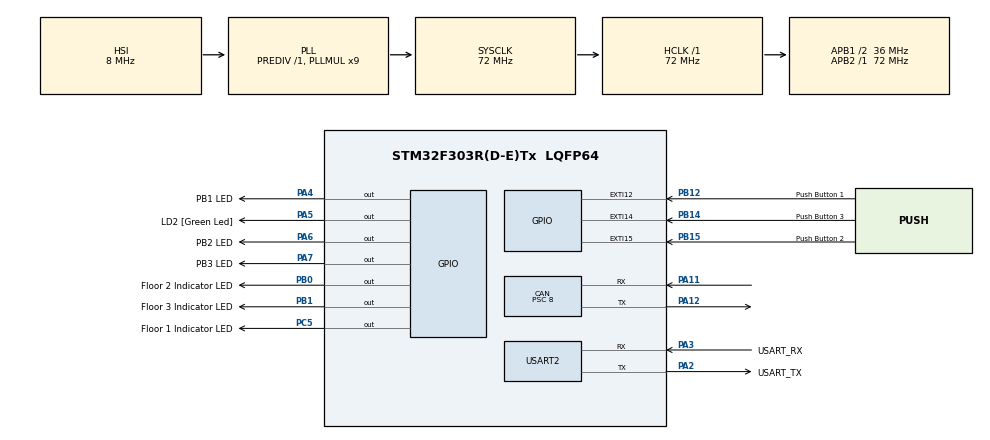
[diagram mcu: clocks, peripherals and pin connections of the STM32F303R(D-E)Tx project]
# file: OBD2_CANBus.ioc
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CAN.BS1=CAN_BS1_4TQ
CAN.BS2=CAN_BS2_4TQ
CAN.CalculateBaudRate=500000
CAN.CalculateTimeBit=2000
CAN.CalculateTimeQuantum=222.22222222222223
CAN.Prescaler=8
CAN.SJW=CAN_SJW_1TQ
Mcu.Family=STM32F3
Mcu.Name=STM32F303R(D-E)Tx
Mcu.Package=LQFP64
NVIC.EXTI15_10_IRQn=true\:0\:0\:false\:false\:true\:true\:true\:true
NVIC.PriorityGroup=NVIC_PRIORITYGROUP_0
NVIC.USB_LP_CAN_RX0_IRQn=true\:0\:0\:false\:false\:true\:true\:true\:true
PA11.Mode=CAN_Activate
PA11.Signal=CAN_RX
PA12.Mode=CAN_Activate
PA12.Signal=CAN_TX
PA13.GPIO_Label=TMS
PA13.Mode=Trace_Asynchronous_SW
PA13.Signal=SYS_JTMS-SWDIO
PA14.GPIO_Label=TCK
PA14.Mode=Trace_Asynchronous_SW
PA14.Signal=SYS_JTCK-SWCLK
PA2.GPIO_Label=USART_TX
PA2.GPIO_Mode=GPIO_MODE_AF_PP
PA2.GPIO_PuPd=GPIO_NOPULL
PA2.GPIO_Speed=GPIO_SPEED_FREQ_LOW
PA2.Mode=Asynchronous
PA2.Signal=USART2_TX
PA3.GPIO_Label=USART_RX
PA3.GPIO_Mode=GPIO_MODE_AF_PP
PA3.GPIO_PuPd=GPIO_NOPULL
PA3.GPIO_Speed=GPIO_SPEED_FREQ_LOW
PA3.Mode=Asynchronous
PA3.Signal=USART2_RX
PA4.GPIO_Label=PB1 LED
PA4.Signal=GPIO_Output
PA5.GPIO_Label=LD2 [Green Led]
PA5.GPIO_Mode=GPIO_MODE_OUTPUT_PP
PA5.GPIO_PuPd=GPIO_NOPULL
PA5.GPIO_Speed=GPIO_SPEED_FREQ_LOW
PA5.Signal=GPIO_Output
PA6.GPIO_Label=PB2 LED
PA6.Signal=GPIO_Output
PA7.GPIO_Label=PB3 LED
PA7.Signal=GPIO_Output
PB0.GPIO_Label=Floor 2 Indicator LED
PB0.Signal=GPIO_Output
PB1.GPIO_Label=Floor 3 Indicator LED
PB1.Signal=GPIO_Output
PB12.GPIO_Label=Push Button 1
PB12.GPIO_ModeDefaultEXTI=GPIO_MODE_IT_FALLING
PB12.Signal=GPXTI12
PB14.GPIO_Label=Push Button 3
PB14.GPIO_ModeDefaultEXTI=GPIO_MODE_IT_FALLING
PB14.Signal=GPXTI14
PB15.GPIO_Label=Push Button 2
PB15.GPIO_ModeDefaultEXTI=GPIO_MODE_IT_FALLING
PB15.Signal=GPXTI15
PB3.GPIO_Label=SWO
PB3.Mode=Trace_Asynchronous_SW
PB3.Signal=SYS_JTDO-TRACESWO
PC14-OSC32_IN.Mode=LSE-External-Oscillator
PC14-OSC32_IN.Signal=RCC_OSC32_IN
PC15-OSC32_OUT.Mode=LSE-External-Oscillator
PC15-OSC32_OUT.Signal=RCC_OSC32_OUT
PC5.GPIO_Label=Floor 1 Indicator LED
PC5.Signal=GPIO_Output
PF0-OSC_IN.Mode=HSE-External-Clock-Source
PF0-OSC_IN.Signal=RCC_OSC_IN
PF1-OSC_OUT.Signal=RCC_OSC_OUT
ProjectManager.HeapSize=0x200
ProjectManager.StackSize=0x400
ProjectManager.TargetToolchain=STM32CubeIDE
RCC.AHBFreq_Value=72000000
RCC.APB1CLKDivider=RCC_HCLK_DIV2
RCC.APB1Freq_Value=36000000
RCC.APB1TimFreq_Value=72000000
RCC.APB2Freq_Value=72000000
RCC.APB2TimFreq_Value=72000000
RCC.CortexFreq_Value=72000000
RCC.HCLKFreq_Value=72000000
RCC.HSE_VALUE=8000000
RCC.HSI_VALUE=8000000
RCC.PLLM=8
RCC.PLLMUL=RCC_PLL_MUL9
RCC.PLLN=336
RCC.PLLP=RCC_PLLP_DIV4
RCC.PLLQ=7
RCC.RCC_PLLsource_Clock_Source_FROM_HSE=RCC_HSE_PREDIV_DIV2
RCC.SYSCLKFreq_VALUE=72000000
RCC.SYSCLKSourceVirtual=RCC_SYSCLKSOURCE_PLLCLK
RCC.USBFreq_Value=72000000
USART2.VirtualMode-Asynchronous=VM_ASYNC
board=NUCLEO-F303RE

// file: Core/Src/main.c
/* USER CODE BEGIN Header */
/**
  ******************************************************************************
  * @file           : main.c
  * @brief          : Main program body
  ******************************************************************************
  * @attention
  *
  * Copyright (c) 2025 STMicroelectronics.
  * All rights reserved.
  *
  * This software is licensed under terms that can be found in the LICENSE file
  * in the root directory of this software component.
  * If no LICENSE file comes with this software, it is provided AS-IS.
  *
  ******************************************************************************
  */
/* USER CODE END Header */
#include "main.h"

/* USER CODE BEGIN Includes */
#include "stdio.h"
#include "OBD2msg.h"
/* USER CODE END Includes */

/* USER CODE BEGIN PD */
#define ID						0x102
#define GO_TO_FLOOR_1 			0x05
#define GO_TO_FLOOR_2			0x06
#define GO_TO_FLOOR_3			0x07
#define NO_BUTTON_PRESSED		0
#define BLUE_BUTTON_PRESSED		5
#define BUTTON_1				1
#define BUTTON_2				2
#define BUTTON_3				3
/* USER CODE END PD */

CAN_HandleTypeDef hcan;

UART_HandleTypeDef huart2;

/* USER CODE BEGIN PV */
CAN_TxHeaderTypeDef		TxHeader;
CAN_RxHeaderTypeDef		RxHeader;
uint8_t					TxData[8];
uint8_t					RxData[8];
uint32_t				TxMailbox;

uint8_t msg = GO_TO_FLOOR_1;
uint8_t BUTTON = NO_BUTTON_PRESSED;
uint8_t i;

uint8_t msgBuffer[] = { 0x00, 0x00, 0x00, 0x00, 0x00, 0x00, 0x00, 0x00 };
uint8_t testmsg[] = { 0x03, 0x41, 0x0D, 0x32, 0xAA, 0xAA, 0xAA, 0xAA };
uint8_t testSend[] = { 0xAB, 0xCD, 0xEF, 0x12 };
uint8_t testRecieve[] = { 0x00, 0x00, 0x00, 0x00 };

uint8_t button1msg[] = { 0x11, 0x11, 0x11, 0x11 };
uint8_t button2msg[] = { 0x22, 0x22, 0x22, 0x22 };
uint8_t button3msg[] = { 0x33, 0x33, 0x33, 0x33 };

/* USER CODE END PV */

void SystemClock_Config(void);
static void MX_GPIO_Init(void);
static void MX_USART2_UART_Init(void);
static void MX_CAN_Init(void);
/* USER CODE BEGIN PFP */
void ReceiveIndicator(void);
void TransmitIndicator(void);
/* USER CODE END PFP */

/* USER CODE BEGIN 0 */

int _write(int file, char *ptr, int len)
{
  for (i = 0; i < len; i++)
  {
    ITM_SendChar(*ptr++);
  }
  return len;
}

/* USER CODE END 0 */

int main(void)
{

  /* MCU Configuration--------------------------------------------------------*/

  /* Reset of all peripherals, Initializes the Flash interface and the Systick. */
   HAL_Init();

  /* Configure the system clock */
  SystemClock_Config();

  /* Initialize all configured peripherals */
  MX_GPIO_Init();
  MX_USART2_UART_Init();
  MX_CAN_Init();

  /* Infinite loop */
  while (1)
  {

    /* USER CODE BEGIN 3 */

	  // TESTING AREA
//	  HAL_Delay(500);
//	  writeOBD2(msgBuffer, 0x01, 0x3E, 0x00, testSend);
//	  loadOBD2(TxData, msgBuffer);
//	  readOBD2(TxData);
//	  if (HAL_CAN_AddTxMessage(&hcan, &TxHeader, TxData, &TxMailbox) != HAL_OK) {			// Transmit the message
//	 				  Error_Handler();														// Transmission error
//	 				  }

	  // Receive
	  if (RxData[1] != 0x00) {
		  ReceiveIndicator();
		  readOBD2(RxData);
		  HAL_Delay(2000);					    											    // Keep LED on for 2 seconds
		  for (i=0; i<8; i++) {
			  RxData[i] = 0x00;																	// Reset the RxData[] buffer (used as flag)
			  }
		  HAL_Delay(100);																		// Need a delay after toggle
		  }

	  // Transmit
	  if (BUTTON != 0) {

		  switch (BUTTON)
		  {
		  case (BUTTON_1):
				  HAL_GPIO_TogglePin(GPIOA, GPIO_PIN_4);  										// Turn OFF LED 1
				  printf("Button1 - Writing CAN Message!\n");
				  writeOBD2(msgBuffer, 0x01, 0x3E, 0x00, testSend);							// Construct OBD2 Format Message in buffer
				  loadOBD2(TxData, msgBuffer);													// Copy the buffer into the transmit register
				  readOBD2(TxData);																// Print the contents of the transmit register
				  HAL_Delay(2000);																// Leave it on for 2 seconds
				  if (HAL_CAN_AddTxMessage(&hcan, &TxHeader, TxData, &TxMailbox) != HAL_OK) {	// Transmit the message
					  Error_Handler();															// Transmission error
					  }
				  HAL_GPIO_TogglePin(GPIOA, GPIO_PIN_4);  										// Turn OFF LED 1
				  BUTTON = NO_BUTTON_PRESSED; 													// Reset the BUTTON flag
				  break;
		  case (BUTTON_2):
				  HAL_GPIO_TogglePin(GPIOA, GPIO_PIN_6);  										// Turn ON LED 1
				  printf("Button2 - Writing CAN Message!\n");
				  writeOBD2(msgBuffer, 0x01, 0x3E, 0x00, button2msg);							// Construct OBD2 Format Message in buffer
				  loadOBD2(TxData, msgBuffer);													// Copy the buffer into the transmit register
				  readOBD2(TxData);																// Print the contents of the transmit register
				  HAL_Delay(2000);																// Leave it on for 2 seconds
				  if (HAL_CAN_AddTxMessage(&hcan, &TxHeader, TxData, &TxMailbox) != HAL_OK) {	// Transmit the message
					  Error_Handler();															// Transmission error
					  }
				  HAL_GPIO_TogglePin(GPIOA, GPIO_PIN_6);  										// Turn OFF LED 2
				  BUTTON = NO_BUTTON_PRESSED; 													// Reset the BUTTON flag
				  break;
		  case (BUTTON_3):
				  HAL_GPIO_TogglePin(GPIOA, GPIO_PIN_7);  										// Turn ON LED 3
				  printf("Button3 - Writing CAN Message!\n");
				  writeOBD2(msgBuffer, 0x01, 0x3E, 0x00, button3msg);							// Construct OBD2 Format Message in buffer
				  loadOBD2(TxData, msgBuffer);													// Copy the buffer into the transmit register
				  readOBD2(TxData);																// Print the contents of the transmit register
				  HAL_Delay(2000);																// Leave it on for 2 seconds
				  if (HAL_CAN_AddTxMessage(&hcan, &TxHeader, TxData, &TxMailbox) != HAL_OK) {	// Transmit the message
					  Error_Handler();															// Transmission error
					  }
				  HAL_GPIO_TogglePin(GPIOA, GPIO_PIN_7);  										// Turn OFF LED 3
				  BUTTON = NO_BUTTON_PRESSED; 													// Reset the BUTTON flag
				  break;
		  default:
			  break;
		  }

		  if (BUTTON == BLUE_BUTTON_PRESSED) {												// Blue button pressed --> Turn on LED2 for 2 seconds and Transmit message
			  HAL_GPIO_TogglePin(GPIOA, GPIO_PIN_5);  										// Turn on LED2

			  printf("Writing CAN Message!\n");
			  writeOBD2(msgBuffer, 0x01, 0x3E, 0x00, testSend);
			  loadOBD2(TxData, msgBuffer);
			  readOBD2(TxData);

			  HAL_Delay(2000);																// Leave it on for 2 seconds

			  if (HAL_CAN_AddTxMessage(&hcan, &TxHeader, TxData, &TxMailbox) != HAL_OK) {	// Transmit the message
				  Error_Handler();															// Transmission error
				  }

			  HAL_GPIO_TogglePin(GPIOA, GPIO_PIN_5);  										// Turn off LED2
			  BUTTON = NO_BUTTON_PRESSED; 													// Reset the BUTTON flag
			  }

		  TransmitIndicator();
	  }

  }
  /* USER CODE END 3 */
}

void SystemClock_Config(void)
{
  RCC_OscInitTypeDef RCC_OscInitStruct = {0};
  RCC_ClkInitTypeDef RCC_ClkInitStruct = {0};
  RCC_PeriphCLKInitTypeDef PeriphClkInit = {0};

  /** Initializes the RCC Oscillators according to the specified parameters
  * in the RCC_OscInitTypeDef structure.
  */
  RCC_OscInitStruct.OscillatorType = RCC_OSCILLATORTYPE_HSI;
  RCC_OscInitStruct.HSIState = RCC_HSI_ON;
  RCC_OscInitStruct.HSICalibrationValue = RCC_HSICALIBRATION_DEFAULT;
  RCC_OscInitStruct.PLL.PLLState = RCC_PLL_ON;
  RCC_OscInitStruct.PLL.PLLSource = RCC_PLLSOURCE_HSI;
  RCC_OscInitStruct.PLL.PLLMUL = RCC_PLL_MUL9;
  RCC_OscInitStruct.PLL.PREDIV = RCC_PREDIV_DIV1;
  if (HAL_RCC_OscConfig(&RCC_OscInitStruct) != HAL_OK)
  {
    Error_Handler();
  }

  /** Initializes the CPU, AHB and APB buses clocks
  */
  RCC_ClkInitStruct.ClockType = RCC_CLOCKTYPE_HCLK|RCC_CLOCKTYPE_SYSCLK
                              |RCC_CLOCKTYPE_PCLK1|RCC_CLOCKTYPE_PCLK2;
  RCC_ClkInitStruct.SYSCLKSource = RCC_SYSCLKSOURCE_PLLCLK;
  RCC_ClkInitStruct.AHBCLKDivider = RCC_SYSCLK_DIV1;
  RCC_ClkInitStruct.APB1CLKDivider = RCC_HCLK_DIV2;
  RCC_ClkInitStruct.APB2CLKDivider = RCC_HCLK_DIV1;

  if (HAL_RCC_ClockConfig(&RCC_ClkInitStruct, FLASH_LATENCY_2) != HAL_OK)
  {
    Error_Handler();
  }
  PeriphClkInit.PeriphClockSelection = RCC_PERIPHCLK_USART2;
  PeriphClkInit.Usart2ClockSelection = RCC_USART2CLKSOURCE_PCLK1;
  if (HAL_RCCEx_PeriphCLKConfig(&PeriphClkInit) != HAL_OK)
  {
    Error_Handler();
  }
}

static void MX_CAN_Init(void)
{

  hcan.Instance = CAN;
  hcan.Init.Prescaler = 8;
  hcan.Init.Mode = CAN_MODE_NORMAL;
  hcan.Init.SyncJumpWidth = CAN_SJW_1TQ;
  hcan.Init.TimeSeg1 = CAN_BS1_4TQ;
  hcan.Init.TimeSeg2 = CAN_BS2_4TQ;
  hcan.Init.TimeTriggeredMode = DISABLE;
  hcan.Init.AutoBusOff = DISABLE;
  hcan.Init.AutoWakeUp = DISABLE;
  hcan.Init.AutoRetransmission = DISABLE;
  hcan.Init.ReceiveFifoLocked = DISABLE;
  hcan.Init.TransmitFifoPriority = DISABLE;
  if (HAL_CAN_Init(&hcan) != HAL_OK)
  {
    Error_Handler();
  }
  /* USER CODE BEGIN CAN_Init 2 */

  // Set Up CAN_Rx Filter

  CAN_FilterTypeDef filter;		// This is one of the 13 filters - can create more filters - this one will be number 0

  // Configure filter 0  to direct everything to FIFO 0
  filter.FilterBank = 0;                            // this is filter number 0
  filter.FilterIdHigh = 0x0100 << 5;                // Set FilterIdHigh bits by choosing an ID and aligning the bits in the filter register with the receive register by shifting << 5
  filter.FilterIdLow = 0x0000;                        // Not using FilterIdLow bits (set as don't care)
  filter.FilterMaskIdHigh = 0xFFC <<5;                // Same as example in lecture (this gives a range of ID's that will be accepted of between 0x100 and 0x103). Must also align the bits;
  filter.FilterMaskIdLow = 0x0000;                    // Not using FilterMaskLow bits (set as don't care)
  filter.FilterFIFOAssignment = CAN_FILTER_FIFO0;    //
  filter.FilterMode = CAN_FILTERMODE_IDMASK;        // uses mask mode (so can set range of IDs)
  filter.FilterScale = CAN_FILTERSCALE_32BIT;        // use 32 bit filters
  filter.FilterActivation = ENABLE;                    // By default the filters are disable so enable them
  filter.SlaveStartFilterBank = 0;

  if (HAL_CAN_ConfigFilter(&hcan, &filter) != HAL_OK)	// Set the above value for filter 0
  {
	  Error_Handler();
  }

  // Start the CAN Peripheral
  if (HAL_CAN_Start(&hcan) != HAL_OK)
  {
	  Error_Handler();
  }

  // Activate CAN_Rx notification interrupt
  if (HAL_CAN_ActivateNotification(&hcan, CAN_IT_RX_FIFO0_MSG_PENDING) != HAL_OK)
  {
	  Error_Handler();
  }

  // Prepare header field for Standard Mode CAN Transmission
  TxHeader.IDE = CAN_ID_STD;				// Using standard mode. Note this = CAN_ID_EXT for extended mode
  TxHeader.ExtId = 0x00;					// Extended ID is not used
  TxHeader.StdId = ID;						// Standard mode ID is 0x100 -- CHANGE THIS LATER --
  TxHeader.RTR = CAN_RTR_DATA;				// Send Data frame not an RTR
  TxHeader.DLC = 8;							// Data Length Code = 8
  TxHeader.TransmitGlobalTime = DISABLE;

  /* USER CODE END CAN_Init 2 */

}

static void MX_USART2_UART_Init(void)
{

  huart2.Instance = USART2;
  huart2.Init.BaudRate = 38400;
  huart2.Init.WordLength = UART_WORDLENGTH_8B;
  huart2.Init.StopBits = UART_STOPBITS_1;
  huart2.Init.Parity = UART_PARITY_NONE;
  huart2.Init.Mode = UART_MODE_TX_RX;
  huart2.Init.HwFlowCtl = UART_HWCONTROL_NONE;
  huart2.Init.OverSampling = UART_OVERSAMPLING_16;
  huart2.Init.OneBitSampling = UART_ONE_BIT_SAMPLE_DISABLE;
  huart2.AdvancedInit.AdvFeatureInit = UART_ADVFEATURE_NO_INIT;
  if (HAL_UART_Init(&huart2) != HAL_OK)
  {
    Error_Handler();
  }

}

static void MX_GPIO_Init(void)
{
  GPIO_InitTypeDef GPIO_InitStruct = {0};

  /* GPIO Ports Clock Enable */
  __HAL_RCC_GPIOC_CLK_ENABLE();
  __HAL_RCC_GPIOF_CLK_ENABLE();
  __HAL_RCC_GPIOA_CLK_ENABLE();
  __HAL_RCC_GPIOB_CLK_ENABLE();

  /*Configure GPIO pin Output Level */
  HAL_GPIO_WritePin(GPIOA, PB1_LED_Pin|LD2_Pin|PB2_LED_Pin|PB3_LED_Pin, GPIO_PIN_RESET);

  /*Configure GPIO pin Output Level */
  HAL_GPIO_WritePin(Floor_1_Indicator_LED_GPIO_Port, Floor_1_Indicator_LED_Pin, GPIO_PIN_RESET);

  /*Configure GPIO pin Output Level */
  HAL_GPIO_WritePin(GPIOB, Floor_2_Indicator_LED_Pin|Floor_3_Indicator_LED_Pin, GPIO_PIN_RESET);

  /*Configure GPIO pins : PB1_LED_Pin LD2_Pin PB2_LED_Pin PB3_LED_Pin */
  GPIO_InitStruct.Pin = PB1_LED_Pin|LD2_Pin|PB2_LED_Pin|PB3_LED_Pin;
  GPIO_InitStruct.Mode = GPIO_MODE_OUTPUT_PP;
  GPIO_InitStruct.Pull = GPIO_NOPULL;
  GPIO_InitStruct.Speed = GPIO_SPEED_FREQ_LOW;
  HAL_GPIO_Init(GPIOA, &GPIO_InitStruct);

  /*Configure GPIO pin : Floor_1_Indicator_LED_Pin */
  GPIO_InitStruct.Pin = Floor_1_Indicator_LED_Pin;
  GPIO_InitStruct.Mode = GPIO_MODE_OUTPUT_PP;
  GPIO_InitStruct.Pull = GPIO_NOPULL;
  GPIO_InitStruct.Speed = GPIO_SPEED_FREQ_LOW;
  HAL_GPIO_Init(Floor_1_Indicator_LED_GPIO_Port, &GPIO_InitStruct);

  /*Configure GPIO pins : Floor_2_Indicator_LED_Pin Floor_3_Indicator_LED_Pin */
  GPIO_InitStruct.Pin = Floor_2_Indicator_LED_Pin|Floor_3_Indicator_LED_Pin;
  GPIO_InitStruct.Mode = GPIO_MODE_OUTPUT_PP;
  GPIO_InitStruct.Pull = GPIO_NOPULL;
  GPIO_InitStruct.Speed = GPIO_SPEED_FREQ_LOW;
  HAL_GPIO_Init(GPIOB, &GPIO_InitStruct);

  /*Configure GPIO pins : Push_Button_1_Pin Push_Button_3_Pin Push_Button_2_Pin */
  GPIO_InitStruct.Pin = Push_Button_1_Pin|Push_Button_3_Pin|Push_Button_2_Pin;
  GPIO_InitStruct.Mode = GPIO_MODE_IT_FALLING;
  GPIO_InitStruct.Pull = GPIO_NOPULL;
  HAL_GPIO_Init(GPIOB, &GPIO_InitStruct);

  /* EXTI interrupt init*/
  HAL_NVIC_SetPriority(EXTI15_10_IRQn, 0, 0);
  HAL_NVIC_EnableIRQ(EXTI15_10_IRQn);

}

/* USER CODE BEGIN 4 */

// Override the HAL_CAN_RxFifo0MsgPendingCallback function
// This is called when the interrupt for FIFO0 is triggered.
void HAL_CAN_RxFifo0MsgPendingCallback(CAN_HandleTypeDef *hcan)
{
	// Get Rx Message and store in RxData[] buffer
	if (HAL_CAN_GetRxMessage(hcan, CAN_RX_FIFO0, &RxHeader, RxData) != HAL_OK)
	{
		Error_Handler();
	}

}

// Override the HAL_GPIO Callback
void HAL_GPIO_EXTI_Callback(uint16_t GPIO_Pin)
{
	// Set the BUTTON Flag to indicate which button was pressed
//	if (GPIO_Pin == GPIO_PIN_13)
//	{
//		BUTTON = BLUE_BUTTON_PRESSED;
//	}

	if (GPIO_Pin == GPIO_PIN_12)
	{
		BUTTON = BUTTON_1;
	}

	if (GPIO_Pin == GPIO_PIN_15)
	{
		BUTTON = BUTTON_2;
	}

	if (GPIO_Pin == GPIO_PIN_14)
	{
		BUTTON = BUTTON_3;
	}

}

void ReceiveIndicator()
{
	int ONTIME = 50; // milliseconds
	for(int x = 0; x < 3; x++)
	{
		HAL_GPIO_TogglePin(GPIOC, GPIO_PIN_5);
		HAL_Delay(ONTIME);
		HAL_GPIO_TogglePin(GPIOC, GPIO_PIN_5);
		HAL_GPIO_TogglePin(GPIOB, GPIO_PIN_0);
		HAL_Delay(ONTIME);
		HAL_GPIO_TogglePin(GPIOB, GPIO_PIN_0);
		HAL_GPIO_TogglePin(GPIOB, GPIO_PIN_1);
		HAL_Delay(ONTIME);
		HAL_GPIO_TogglePin(GPIOB, GPIO_PIN_1);
		HAL_Delay(ONTIME);
	}
}

void TransmitIndicator()
{
	int ONTIME = 50; // milliseconds
	for(int x = 0; x < 3 ; x++)
	{
		HAL_GPIO_TogglePin(GPIOB, GPIO_PIN_1);
		HAL_Delay(ONTIME);
		HAL_GPIO_TogglePin(GPIOB, GPIO_PIN_1);
		HAL_GPIO_TogglePin(GPIOB, GPIO_PIN_0);
		HAL_Delay(ONTIME);
		HAL_GPIO_TogglePin(GPIOB, GPIO_PIN_0);
		HAL_GPIO_TogglePin(GPIOC, GPIO_PIN_5);
		HAL_Delay(ONTIME);
		HAL_GPIO_TogglePin(GPIOC, GPIO_PIN_5);
		HAL_Delay(ONTIME);
	}
}

/* USER CODE END 4 */

void Error_Handler(void)
{
  __disable_irq();
  while (1)
  {
  }
}
